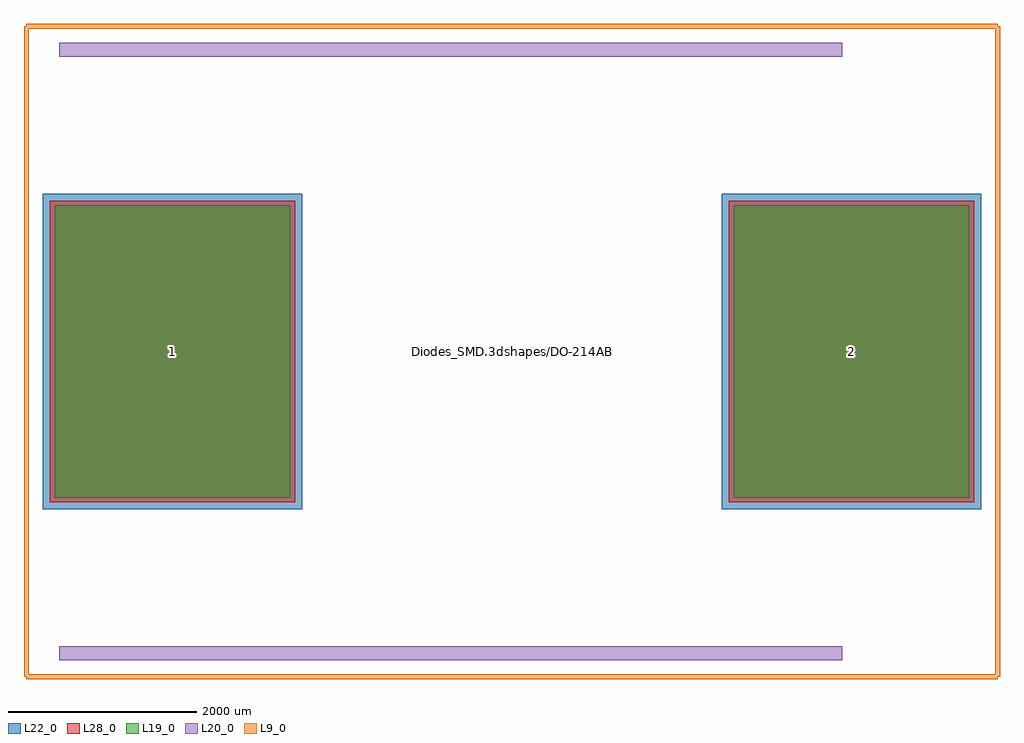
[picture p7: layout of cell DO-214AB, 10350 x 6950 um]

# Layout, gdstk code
import gdstk
lib = gdstk.Library(unit=1e-6, precision=1e-09)
def R(c, l, rs):  # rectangles x0, y0, x1, y1
    for r in rs: c.add(gdstk.rectangle(r[:2], r[2:], *l))
L9_0 = (9, 0)
L19_0 = (19, 0)
L20_0 = (20, 0)
L22_0 = (22, 0)
L28_0 = (28, 0)

do_214ab = lib.new_cell('DO-214AB')
R(do_214ab, L19_0, [(-4850,-1550,-2350,1550), (2350,-1550,4850,1550)])
R(do_214ab, L22_0, [(-4975,-1675,-2225,1675), (2225,-1675,4975,1675)])
R(do_214ab, L28_0, [(-4900,-1600,-2300,1600), (2300,-1600,4900,1600)])
do_214ab.add(gdstk.FlexPath([(-4800,3200),(3500,3200)], 149.998, ends="flush", simple_path=True, layer=20, datatype=0))  # L20_0
do_214ab.add(gdstk.FlexPath([(3500,-3200),(-4800,-3200)], 149.998, ends="flush", simple_path=True, layer=20, datatype=0))  # L20_0
do_214ab.add(gdstk.FlexPath([(-5150,-3450),(-5150,3450)], 50, ends="flush", simple_path=True, layer=9, datatype=0))  # L9_0
do_214ab.add(gdstk.FlexPath([(5150,-3450),(-5150,-3450)], 50, ends="flush", simple_path=True, layer=9, datatype=0))  # L9_0
do_214ab.add(gdstk.FlexPath([(5150,3450),(5150,-3450)], 50, ends="flush", simple_path=True, layer=9, datatype=0))  # L9_0
do_214ab.add(gdstk.FlexPath([(-5150,3450),(5150,3450)], 50, ends="flush", simple_path=True, layer=9, datatype=0))  # L9_0
do_214ab.add(gdstk.Label('Diodes_SMD.3dshapes/DO-214AB.wrl', (0,0), layer=12, texttype=0))
do_214ab.add(gdstk.Label('1', (-3600,0), layer=28, texttype=0))
do_214ab.add(gdstk.Label('2', (3600,0), layer=28, texttype=0))
do_214ab.add(gdstk.Label('type', (0,-4600), layer=9, texttype=0))
do_214ab.add(gdstk.Label('devicename', (0,4200), layer=9, texttype=0))

lib.write_gds('DO-214AB.gds')
